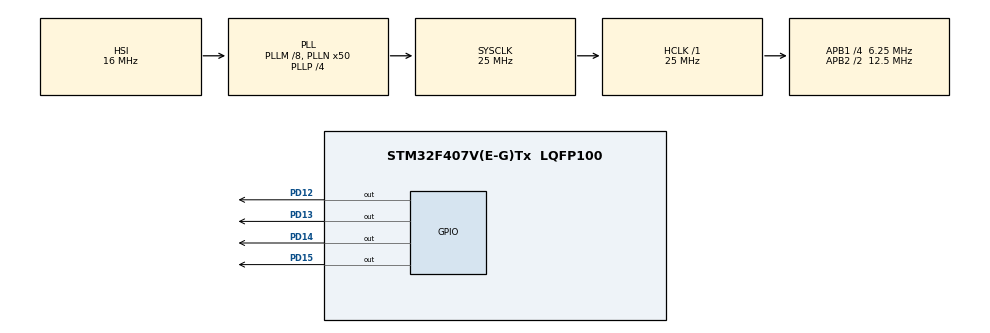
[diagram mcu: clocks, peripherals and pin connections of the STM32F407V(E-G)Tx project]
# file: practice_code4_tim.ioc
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Mcu.Family=STM32F4
RCC.CortexFreq_Value=25000000
NVIC.TIM6_DAC_IRQn=true\:0\:0\:false\:false\:true\:true\:true
TIM6.Prescaler=12499
VP_TIM6_VS_ClockSourceINT.Mode=Enable_Timer
RCC.APB1CLKDivider=RCC_HCLK_DIV4
RCC.SYSCLKSource=RCC_SYSCLKSOURCE_PLLCLK
ProjectManager.StackSize=0x400
PD13.Signal=GPIO_Output
ProjectManager.TargetToolchain=STM32CubeIDE
RCC.HCLKFreq_Value=25000000
RCC.APB2TimFreq_Value=25000000
RCC.LSE_VALUE=32768
RCC.AHBFreq_Value=25000000
RCC.HSE_VALUE=8000000
board=STM32F407G-DISC1
RCC.VCOOutputFreq_Value=100000000
RCC.APB2Freq_Value=12500000
PD13.GPIO_PuPd=GPIO_NOPULL
PD14.GPIO_PuPd=GPIO_NOPULL
TIM6.Period=9999
Mcu.Name=STM32F407V(E-G)Tx
PD14.Signal=GPIO_Output
RCC.48MHZClocksFreq_Value=14285714.285714285
RCC.SYSCLKFreq_VALUE=25000000
Mcu.Package=LQFP100
PD12.Signal=GPIO_Output
PD15.GPIO_PuPd=GPIO_NOPULL
ProjectManager.HeapSize=0x200
RCC.HSI_VALUE=16000000
RCC.PLLP=RCC_PLLP_DIV4
RCC.PLLQ=7
NVIC.PriorityGroup=NVIC_PRIORITYGROUP_0
RCC.APB2CLKDivider=RCC_HCLK_DIV2
RCC.PLLM=8
RCC.PLLN=50
RCC.APB1TimFreq_Value=12500000
RCC.APB1Freq_Value=6250000
PD15.Signal=GPIO_Output
PD12.GPIO_PuPd=GPIO_NOPULL

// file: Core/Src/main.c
/* USER CODE BEGIN Header */
/**
  ******************************************************************************
  * @file           : main.c
  * @brief          : Main program body
  ******************************************************************************
  * @attention
  *
  * <h2><center>&copy; Copyright (c) 2022 STMicroelectronics.
  * All rights reserved.</center></h2>
  *
  * This software component is licensed by ST under BSD 3-Clause license,
  * the "License"; You may not use this file except in compliance with the
  * License. You may obtain a copy of the License at:
  *                        opensource.org/licenses/BSD-3-Clause
  *
  ******************************************************************************
  */
/* USER CODE END Header */
#include "main.h"

TIM_HandleTypeDef htim6;

void SystemClock_Config(void);
static void MX_GPIO_Init(void);
static void MX_TIM6_Init(void);

int main(void)
{

  /* MCU Configuration--------------------------------------------------------*/

  /* Reset of all peripherals, Initializes the Flash interface and the Systick. */
  HAL_Init();

  /* Configure the system clock */
  SystemClock_Config();

  /* Initialize all configured peripherals */
  MX_GPIO_Init();
  MX_TIM6_Init();
  /* USER CODE BEGIN 2 */
  HAL_TIM_Base_Start_IT(&htim6);
  /* USER CODE END 2 */

  /* Infinite loop */
  while (1)
  {

  }
}

void SystemClock_Config(void)
{
  RCC_OscInitTypeDef RCC_OscInitStruct = {0};
  RCC_ClkInitTypeDef RCC_ClkInitStruct = {0};

  /** Configure the main internal regulator output voltage
  */
  __HAL_RCC_PWR_CLK_ENABLE();
  __HAL_PWR_VOLTAGESCALING_CONFIG(PWR_REGULATOR_VOLTAGE_SCALE1);
  /** Initializes the RCC Oscillators according to the specified parameters
  * in the RCC_OscInitTypeDef structure.
  */
  RCC_OscInitStruct.OscillatorType = RCC_OSCILLATORTYPE_HSI;
  RCC_OscInitStruct.HSIState = RCC_HSI_ON;
  RCC_OscInitStruct.HSICalibrationValue = RCC_HSICALIBRATION_DEFAULT;
  RCC_OscInitStruct.PLL.PLLState = RCC_PLL_ON;
  RCC_OscInitStruct.PLL.PLLSource = RCC_PLLSOURCE_HSI;
  RCC_OscInitStruct.PLL.PLLM = 8;
  RCC_OscInitStruct.PLL.PLLN = 50;
  RCC_OscInitStruct.PLL.PLLP = RCC_PLLP_DIV4;
  RCC_OscInitStruct.PLL.PLLQ = 7;
  if (HAL_RCC_OscConfig(&RCC_OscInitStruct) != HAL_OK)
  {
    Error_Handler();
  }
  /** Initializes the CPU, AHB and APB buses clocks
  */
  RCC_ClkInitStruct.ClockType = RCC_CLOCKTYPE_HCLK|RCC_CLOCKTYPE_SYSCLK
                              |RCC_CLOCKTYPE_PCLK1|RCC_CLOCKTYPE_PCLK2;
  RCC_ClkInitStruct.SYSCLKSource = RCC_SYSCLKSOURCE_PLLCLK;
  RCC_ClkInitStruct.AHBCLKDivider = RCC_SYSCLK_DIV1;
  RCC_ClkInitStruct.APB1CLKDivider = RCC_HCLK_DIV4;
  RCC_ClkInitStruct.APB2CLKDivider = RCC_HCLK_DIV2;

  if (HAL_RCC_ClockConfig(&RCC_ClkInitStruct, FLASH_LATENCY_0) != HAL_OK)
  {
    Error_Handler();
  }
}

static void MX_TIM6_Init(void)
{

  TIM_MasterConfigTypeDef sMasterConfig = {0};

  htim6.Instance = TIM6;
  htim6.Init.Prescaler = 12499;
  htim6.Init.CounterMode = TIM_COUNTERMODE_UP;
  htim6.Init.Period = 9999;
  htim6.Init.AutoReloadPreload = TIM_AUTORELOAD_PRELOAD_DISABLE;
  if (HAL_TIM_Base_Init(&htim6) != HAL_OK)
  {
    Error_Handler();
  }
  sMasterConfig.MasterOutputTrigger = TIM_TRGO_RESET;
  sMasterConfig.MasterSlaveMode = TIM_MASTERSLAVEMODE_DISABLE;
  if (HAL_TIMEx_MasterConfigSynchronization(&htim6, &sMasterConfig) != HAL_OK)
  {
    Error_Handler();
  }

}

static void MX_GPIO_Init(void)
{
  GPIO_InitTypeDef GPIO_InitStruct = {0};

  /* GPIO Ports Clock Enable */
  __HAL_RCC_GPIOD_CLK_ENABLE();

  /*Configure GPIO pin Output Level */
  HAL_GPIO_WritePin(GPIOD, GPIO_PIN_12|GPIO_PIN_13|GPIO_PIN_14|GPIO_PIN_15, GPIO_PIN_RESET);

  /*Configure GPIO pins : PD12 PD13 PD14 PD15 */
  GPIO_InitStruct.Pin = GPIO_PIN_12|GPIO_PIN_13|GPIO_PIN_14|GPIO_PIN_15;
  GPIO_InitStruct.Mode = GPIO_MODE_OUTPUT_PP;
  GPIO_InitStruct.Pull = GPIO_NOPULL;
  GPIO_InitStruct.Speed = GPIO_SPEED_FREQ_LOW;
  HAL_GPIO_Init(GPIOD, &GPIO_InitStruct);

}

/* USER CODE BEGIN 4 */
volatile int flag =0;
void HAL_TIM_PeriodElapsedCallback(TIM_HandleTypeDef *htim)
{
  if(htim == &htim6)
  {
	  //HAL_GPIO_WritePin(GPIOD, GPIO_PIN_14, GPIO_PIN_SET);
	  flag++;

	  if(flag ==1)
	  {
		  HAL_GPIO_WritePin(GPIOD, GPIO_PIN_12, GPIO_PIN_SET);
		  //flag++;
	  }
	  else if(flag ==2)
	  {
		  HAL_GPIO_WritePin(GPIOD, GPIO_PIN_12, GPIO_PIN_RESET);
		  HAL_GPIO_WritePin(GPIOD, GPIO_PIN_15, GPIO_PIN_SET);
		  //flag++;

	  }
	  else if(flag ==3)
	  {
		  HAL_GPIO_WritePin(GPIOD, GPIO_PIN_15, GPIO_PIN_RESET);
		  HAL_GPIO_WritePin(GPIOD, GPIO_PIN_13, GPIO_PIN_SET);
		  //flag++;
	  }
	  else if(flag == 4)
	  {
		  HAL_GPIO_WritePin(GPIOD, GPIO_PIN_13, GPIO_PIN_RESET);
		  HAL_GPIO_WritePin(GPIOD, GPIO_PIN_15, GPIO_PIN_SET);
	  }
	  else
	  {
		  HAL_GPIO_WritePin(GPIOD, GPIO_PIN_15, GPIO_PIN_RESET);
	  }
  }
}
/* USER CODE END 4 */

void Error_Handler(void)
{
  __disable_irq();
  while (1)
  {
  }
}

/************************ (C) COPYRIGHT STMicroelectronics *****END OF FILE****/
